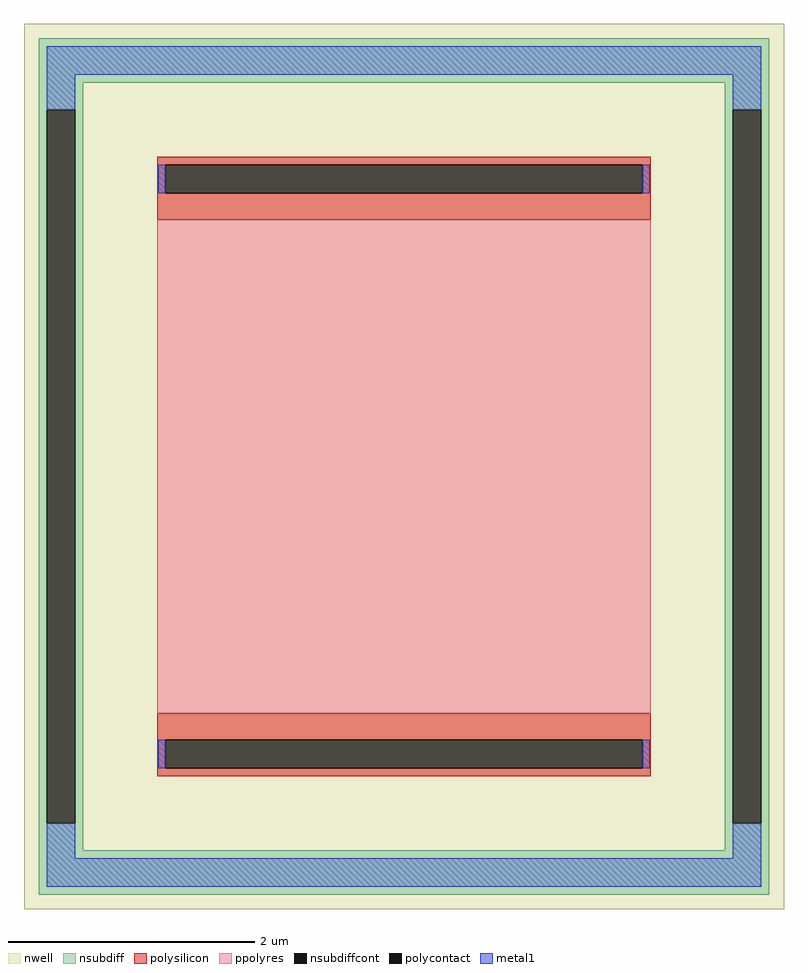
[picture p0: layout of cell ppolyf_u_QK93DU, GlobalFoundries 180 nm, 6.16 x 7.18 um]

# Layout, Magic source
magic
tech gf180mcuD
magscale 1 10
<< nwell >>
rect -616 -718 616 718
<< nsubdiff >>
rect -592 622 592 694
rect -592 578 -520 622
rect -592 -578 -579 578
rect -533 -578 -520 578
rect 520 578 592 622
rect -592 -622 -520 -578
rect 520 -578 533 578
rect 579 -578 592 578
rect 520 -622 592 -578
rect -592 -694 592 -622
<< nsubdiffcont >>
rect -579 -578 -533 578
rect 533 -578 579 578
<< polysilicon >>
rect -400 489 400 502
rect -400 443 -387 489
rect 387 443 400 489
rect -400 400 400 443
rect -400 -443 400 -400
rect -400 -489 -387 -443
rect 387 -489 400 -443
rect -400 -502 400 -489
<< polycontact >>
rect -387 443 387 489
rect -387 -489 387 -443
<< ppolyres >>
rect -400 -400 400 400
<< metal1 >>
rect -579 635 579 681
rect -579 578 -533 635
rect 533 578 579 635
rect -398 443 -387 489
rect 387 443 398 489
rect -398 -489 -387 -443
rect 387 -489 398 -443
rect -579 -635 -533 -578
rect 533 -635 579 -578
rect -579 -681 579 -635
<< properties >>
string FIXED_BBOX -556 -658 556 658
string gencell ppolyf_u
string library gf180mcu
string parameters w 4.0 l 4.0 m 1 nx 1 wmin 0.80 lmin 1.00 class resistor rho 315 val 320.61 dummy 0 dw 0.07 term 0.0 sterm 0.0 caplen 0.4 snake 1 glc 1 grc 1 gtc 0 gbc 0 roverlap 0 endcov 100 full_metal 1
string ppolyf_u_QK93DU parameters
<< end >>
